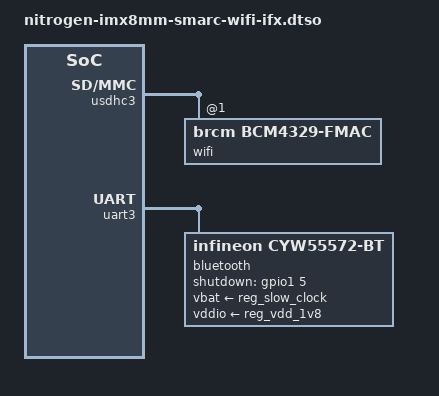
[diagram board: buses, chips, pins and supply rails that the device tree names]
// SPDX-License-Identifier: (GPL-2.0+ OR MIT)
/*
 * SDIO LWBxx & IFxxx module
 *
 * Copyright (C) 2026 Ezurio LLC
 */

/dts-v1/;
/plugin/;

#include <dt-bindings/gpio/gpio.h>

&reg_wifi_en {
	startup-delay-us = <250000>;
	off-on-delay-us = <100>;
};

&usdhc3 {
	status = "okay";

	#address-cells = <1>;
	#size-cells = <0>;

	wifi@1 {
		reg = <1>;
		compatible = "brcm,bcm4329-fmac";
	};
};

&uart3 {
	status = "okay";

	bluetooth {
		compatible = "infineon,cyw55572-bt";
		vbat-supply = <&reg_slow_clock>;
		vddio-supply = <&reg_vdd_1v8>;
		brcm,requires-autobaud-mode;
		max-speed = <3000000>;
		shutdown-gpios = <&gpio1 5 GPIO_ACTIVE_HIGH>;
	};
};
